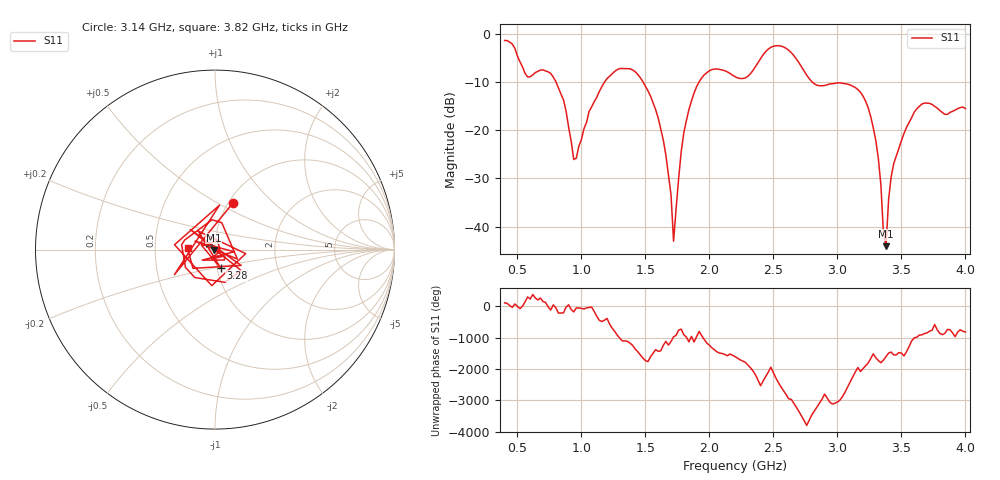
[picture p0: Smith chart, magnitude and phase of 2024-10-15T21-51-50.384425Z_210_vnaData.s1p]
! Created with skrf (http://scikit-rf.org).
# Hz S RI R 50.0
!freq ReS11 ImS11
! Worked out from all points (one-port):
!   181 points, 400 MHz to 4 GHz, reference 50 ohm
!   lowest |S11| = -44.1 dB at 3.38 GHz (marker M1), VSWR 1.01, Z = 49.4 - j0.22 ohm
!   |S11| at or under -10 dB: 802.4 MHz to 1.179 GHz (377.1 MHz wide, 38.1 % of centre); 1.483 GHz to 1.918 GHz (435 MHz wide, 25.6 % of centre); 2.806 GHz to end of sweep
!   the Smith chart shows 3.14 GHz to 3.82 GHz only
!   S11 on the Smith chart (normalised r, x): 3.14 GHz: 1.05, +0.59; 3.28 GHz: 1.04, -0.22; 3.82 GHz: 0.73, +0.01
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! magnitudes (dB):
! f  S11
! 400 MHz  -1.3
! 860 MHz  -13.7
! 960 MHz  -25.8
! 1.06 GHz  -16.1
! 1.3 GHz  -7.1
! 1.44 GHz  -8.4
! 1.58 GHz  -15.7
! 1.66 GHz  -25.2
! 1.7 GHz  -33.4
! 1.72 GHz  -43.0
! 1.76 GHz  -29.9
! 1.82 GHz  -18.0
! 1.92 GHz  -9.9
! 2.2 GHz  -8.8
! 2.5 GHz  -2.5
! 2.66 GHz  -4.5
! 2.84 GHz  -10.6
! 3.1 GHz  -10.6
! 3.14 GHz  -11.1
! 3.28 GHz  -19.4
! 3.32 GHz  -25.9
! 3.36 GHz  -41.4
! 3.38 GHz  -44.1
! 3.42 GHz  -29.7
! 3.56 GHz  -18.3
! 3.68 GHz  -14.3
! 3.82 GHz  -16.3
! 4 GHz  -15.5
